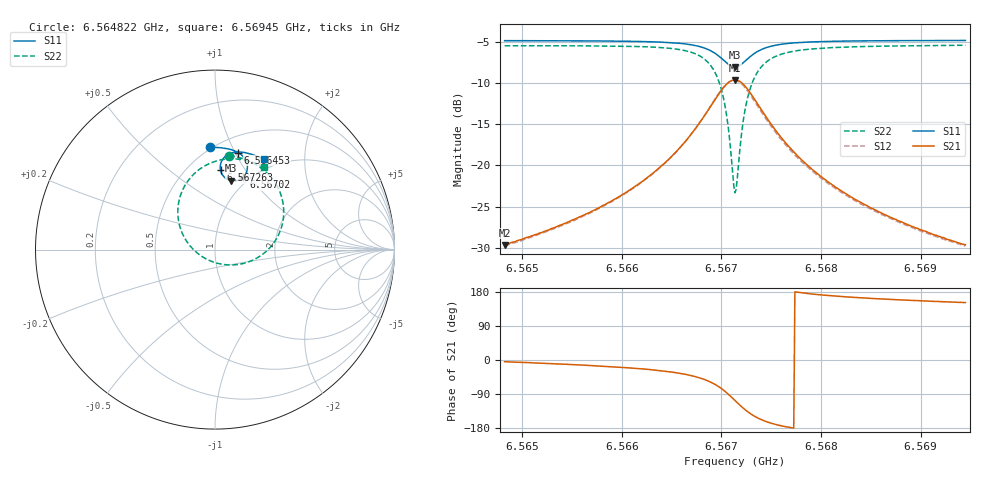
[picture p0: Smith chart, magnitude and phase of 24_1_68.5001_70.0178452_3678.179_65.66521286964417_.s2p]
#  HZ  S  RI  R  50.00
! Rohde & Schwarz Vector Network Analyzer
! Rohde-Schwarz,ZNB20-2Port,1311601062101988,3.16
! Created: UTC 3/20/2024, 4:49:38 PM
! freq[Hz]  re:S11  im:S11  re:S21  im:S21  re:S12  im:S12  re:S22  im:S22
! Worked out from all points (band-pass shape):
!   401 points, 6.564822 GHz to 6.56945 GHz, reference 50 ohm
!   highest |S21| = -9.64 dB at 6.567136 GHz (marker M1); lowest = -29.6 dB at 6.564822 GHz (marker M2)
!   |S21| within 3 dB of the highest: 6.566903 GHz to 6.567367 GHz (464.2 kHz wide, 0.00707 % of centre)
!   lowest |S11| = -8.1 dB at 6.567136 GHz (marker M3), VSWR 2.30, Z = 43 + j39.2 ohm
!   |S11| at or under -10 dB: nowhere
!   |S22| runs from -23.3 to -5.4 dB; largest |S21 - S12| = 0.018
!   S11 on the Smith chart (normalised r, x): 6.564822 GHz: 0.49, +0.83; 6.566453 GHz: 0.66, +1.03; 6.56702 GHz: 0.93, +0.93; 6.567263 GHz: 0.71, +0.78; 6.56945 GHz: 0.86, +1.28
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6.5648215e9  -0.0254 0.5689  0.0328 -0.00263  0.0324 -0.00318  0.0799 0.5238
6.5655967e9  0.0406 0.5665  0.048 -0.0114  0.0472 -0.0121  0.1608 0.5048
6.5660364e9  0.0823 0.5589  0.0641 -0.0235  0.0632 -0.0242  0.2205 0.4782
6.5663719e9  0.1191 0.5458  0.0851 -0.0447  0.0839 -0.0458  0.2819 0.4345
6.5664529e9  0.1291 0.5405  0.092 -0.0536  0.0907 -0.0548  0.3001 0.4169
6.5666844e9  0.16 0.5147  0.115 -0.0981  0.1133 -0.1003  0.358 0.3296
6.5668463e9  0.1787 0.4765  0.1237 -0.1659  0.1201 -0.1699  0.3827 0.1986
6.5669505e9  0.1768 0.4358  0.1017 -0.2375  0.0946 -0.2428  0.3436 0.0622
6.5670199e9  0.158 0.4047  0.0541 -0.2907  0.0423 -0.2944  0.2527 -0.0354
6.5670546e9  0.1408 0.3917  0.0163 -0.3112  0.00206 -0.3127  0.1812 -0.0704
6.5671125e9  0.1031 0.3824  -0.0626 -0.3222  -0.0786 -0.3173  0.0364 -0.0812
6.5671356e9  0.0868 0.3845  -0.0956 -0.3154  -0.1111 -0.3077  -0.0218 -0.0645
6.5671587e9  0.0713 0.3901  -0.1265 -0.3024  -0.1408 -0.292  -0.0751 -0.0368
6.5672166e9  0.0419 0.4157  -0.1856 -0.2494  -0.1939 -0.2349  -0.1703 0.0664
6.5672629e9  0.0309 0.4414  -0.2093 -0.1988  -0.2129 -0.184  -0.2029 0.1585
6.5673554e9  0.034 0.4859  -0.2108 -0.1128  -0.2085 -0.1016  -0.19 0.3086
6.5674943e9  0.0613 0.5228  -0.1739 -0.0419  -0.1699 -0.0357  -0.1109 0.4274
6.5676678e9  0.0954 0.5395  -0.1316 -0.0066  -0.1281 -0.00347  -0.0229 0.483
6.5679108e9  0.1322 0.5441  -0.094 0.00955  -0.0915 0.0113  0.0597 0.5039
6.5683042e9  0.1767 0.5384  -0.0622 0.0158  -0.0607 0.0165  0.1414 0.5025
6.568686e9  0.2115 0.5283  -0.0459 0.0166  -0.0448 0.017  0.1944 0.4913
6.5694497e9  0.2712 0.5026  -0.029 0.0157  -0.0282 0.0159  0.2703 0.4606
